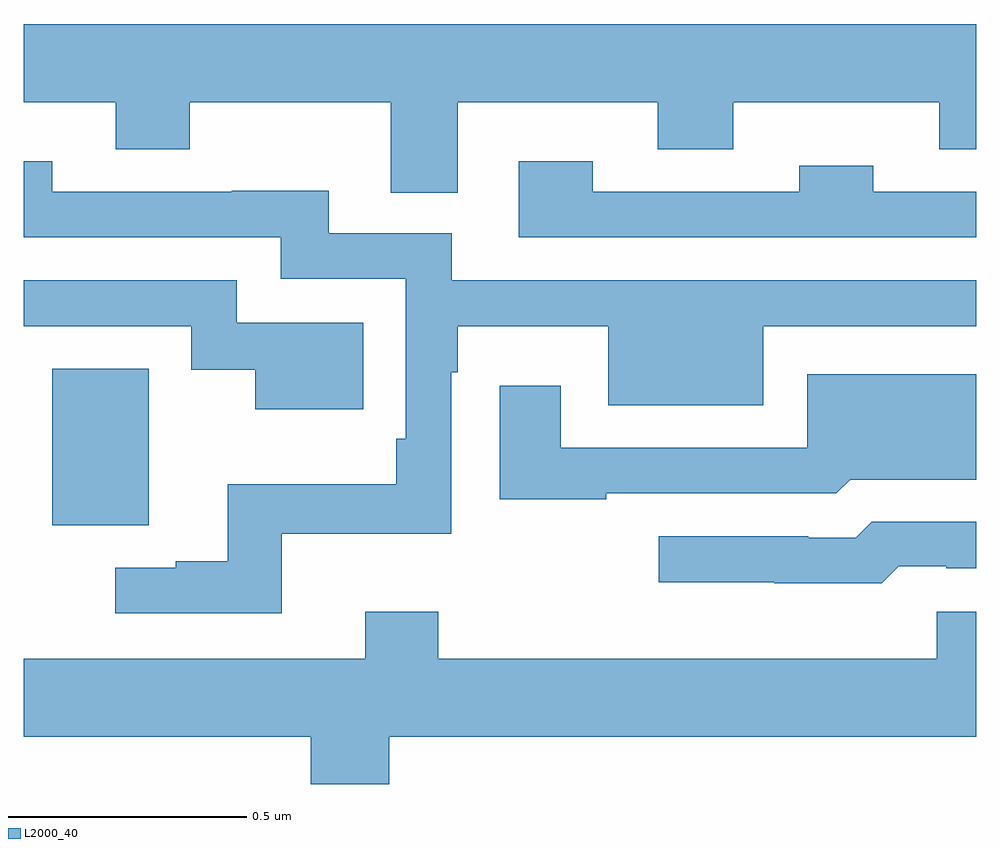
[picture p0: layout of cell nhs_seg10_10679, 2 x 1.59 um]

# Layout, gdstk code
import gdstk
lib = gdstk.Library(unit=1e-6, precision=1e-09)
def R(c, l, rs):  # rectangles x0, y0, x1, y1
    for r in rs: c.add(gdstk.rectangle(r[:2], r[2:], *l))
def P(c, l, *ps):  # polygons
    for p in ps: c.add(gdstk.Polygon(p, *l))
L2000_40 = (2000, 40)

nhs_seg10_10679 = lib.new_cell('nhs_seg10_10679')
R(nhs_seg10_10679, L2000_40, [(245.06,1318.076,245.263,1318.405)])
P(nhs_seg10_10679, L2000_40, [(245.911,1318.964),(246.331,1318.964),(246.331,1318.865),(246.489,1318.865),(246.489,1318.964),(246.922,1318.964),(246.922,1318.865),(247,1318.865),(247,1319.128),(245,1319.128),(245,1318.964),(245.194,1318.964),(245.194,1318.865),(245.349,1318.865),(245.349,1318.964),(245.771,1318.964),(245.771,1318.774),(245.911,1318.774)],
  [(245.542,1318.058),(245.898,1318.058),(245.898,1318.397),(245.911,1318.397),(245.911,1318.494),(246.227,1318.494),(246.227,1318.328),(246.553,1318.328),(246.553,1318.494),(247,1318.494),(247,1318.59),(245.899,1318.59),(245.899,1318.689),(245.641,1318.689),(245.641,1318.778),(245.437,1318.778),(245.437,1318.776),(245.06,1318.776),(245.06,1318.84),(245,1318.84),(245,1318.68),(245.54,1318.68),(245.54,1318.593),(245.802,1318.593),(245.802,1318.258),(245.782,1318.258),(245.782,1318.162),(245.429,1318.162),(245.429,1318),(245.319,1318),(245.319,1317.987),(245.193,1317.987),(245.193,1317.891),(245.542,1317.891)],
  [(247,1318.776),(246.783,1318.776),(246.783,1318.831),(246.628,1318.831),(246.628,1318.776),(246.195,1318.776),(246.195,1318.84),(246.039,1318.84),(246.039,1318.68),(247,1318.68)],
  [(245.713,1318.501),(245.448,1318.501),(245.448,1318.59),(245,1318.59),(245,1318.494),(245.352,1318.494),(245.352,1318.402),(245.486,1318.402),(245.486,1318.319),(245.713,1318.319)],
  [(246.223,1318.143),(246.706,1318.143),(246.735,1318.172),(247,1318.172),(247,1318.393),(246.645,1318.393),(246.645,1318.239),(246.127,1318.239),(246.127,1318.369),(245.999,1318.369),(245.999,1318.131),(246.223,1318.131)],
  [(246.837,1317.99),(246.937,1317.99),(246.937,1317.986),(247,1317.986),(247,1318.083),(246.78,1318.083),(246.747,1318.05),(246.647,1318.05),(246.647,1318.053),(246.333,1318.053),(246.333,1317.956),(246.576,1317.956),(246.576,1317.954),(246.801,1317.954)],
  [(245.768,1317.632),(247,1317.632),(247,1317.895),(246.917,1317.895),(246.917,1317.796),(245.87,1317.796),(245.87,1317.895),(245.717,1317.895),(245.717,1317.796),(245,1317.796),(245,1317.632),(245.603,1317.632),(245.603,1317.533),(245.768,1317.533)])

lib.write_gds('nhs_seg10_10679.gds')
